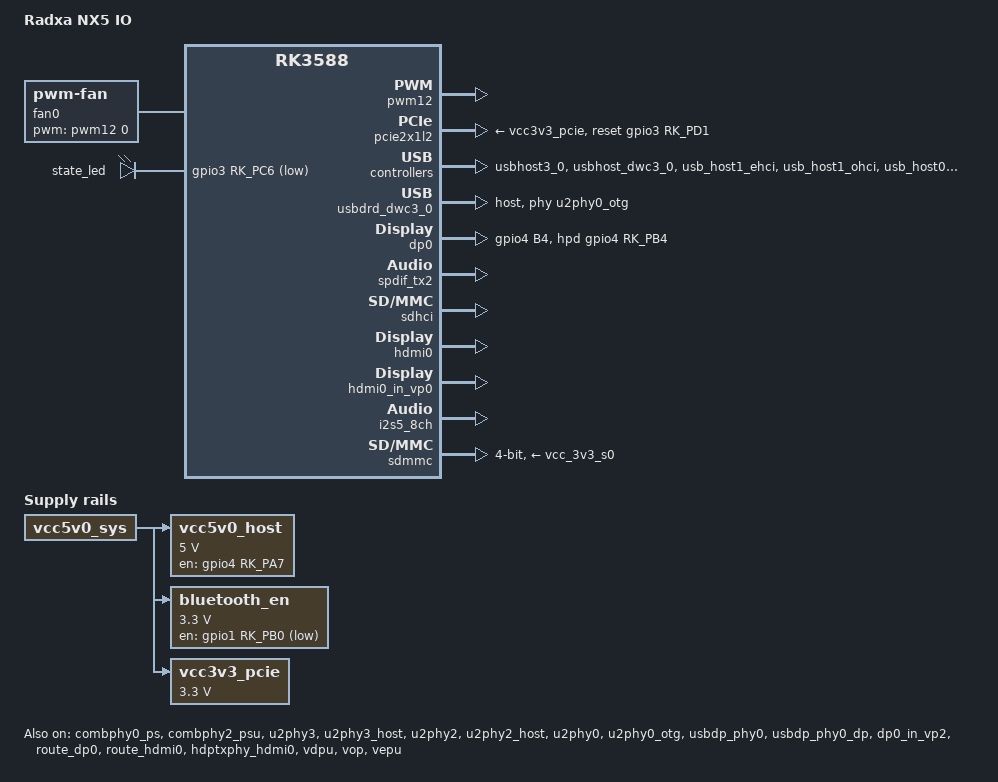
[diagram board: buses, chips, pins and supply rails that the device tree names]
// SPDX-License-Identifier: (GPL-2.0+ OR MIT)
/*
 * Copyright (c) 2022 Rockchip Electronics Co., Ltd.
 * Copyright (c) 2022 Radxa Limited
 *
 */

/dts-v1/;

#include "rk3588s-radxa-nx5-module.dtsi"

/ {
	model = "Radxa NX5 IO";
	compatible = "radxa,nx5-io", "rockchip,rk3588";

	vcc5v0_host: vcc5v0-host-regulator {
		compatible = "regulator-fixed";
		regulator-name = "vcc5v0_host";
		regulator-boot-on;
		regulator-always-on;
		regulator-min-microvolt = <5000000>;
		regulator-max-microvolt = <5000000>;
		enable-active-high;
		gpio = <&gpio4 RK_PA7 GPIO_ACTIVE_HIGH>;
		pinctrl-names = "default";
		pinctrl-0 = <&vcc5v0_host_en>;
		vin-supply = <&vcc5v0_sys>;
	};

	hdmi0_sound: hdmi0-sound {
		status = "okay";
		compatible = "rockchip,hdmi";
		rockchip,mclk-fs = <128>;
		rockchip,card-name = "rockchip-hdmi0";
		rockchip,cpu = <&i2s5_8ch>;
		rockchip,codec = <&hdmi0>;
		rockchip,jack-det;
	};

	dp0_sound: dp0-sound {
		status = "okay";
		compatible = "rockchip,hdmi";
		rockchip,mclk-fs = <512>;
		rockchip,card-name= "rockchip-hdmi1";
		rockchip,cpu = <&spdif_tx2>;
		rockchip,codec = <&dp0 1>;
		rockchip,jack-det;
	};

	fan0: pwm-fan {
		compatible = "pwm-fan";
		#cooling-cells = <2>;
		cooling-levels = <0 64 128 192 255>;
		pwms = <&pwm12 0 10000 0>;
	};

	bluetooth_en: bluetooth-en {
		compatible = "regulator-fixed";
		regulator-name = "bluetooth_en";
		regulator-min-microvolt = <3300000>;
		regulator-max-microvolt = <3300000>;
		regulator-boot-on;
		regulator-always-on;
		enable-active-low;
		gpio = <&gpio1 RK_PB0 GPIO_ACTIVE_LOW>;
		pinctrl-names = "default";
		pinctrl-0 = <&ble_en>;
		vin-supply = <&vcc5v0_sys>;
	};

	vcc3v3_pcie: vcc3v3-pcie {
		compatible = "regulator-fixed";
		regulator-name = "vcc3v3_pcie";
		regulator-min-microvolt = <3300000>;
		regulator-max-microvolt = <3300000>;
		startup-delay-us = <5000>;
		vin-supply = <&vcc5v0_sys>;
	};

	leds {
		compatible = "gpio-leds";
		pinctrl-0 = <&led0_en &led1_en>;
		pinctrl-names = "default";
		state_led {
			gpios = <&gpio3 RK_PC6 GPIO_ACTIVE_LOW>;
			linux,default-trigger = "heartbeat";
			default-state = "on";
		};
	};
};

&pwm12 {
	pinctrl-0 = <&pwm12m1_pins>;
	status = "okay";
};

&soc_thermal {
	sustainable-power = <5000>; /* milliwatts */
	cooling-maps {
		map4 {
			trip = <&target>;
			cooling-device =
				<&fan0 THERMAL_NO_LIMIT THERMAL_NO_LIMIT>;
			contribution = <8192>;
		};
		map5 {
			trip = <&threshold>;
			cooling-device =
				<&fan0 THERMAL_NO_LIMIT THERMAL_NO_LIMIT>;
			contribution = <8192>;
		};
	};
};

&threshold {
	temperature = <60000>;
};

&combphy0_ps {
	status = "okay";
};

&pcie2x1l2 {
	vpcie3v3-supply = <&vcc3v3_pcie>;
	reset-gpios = <&gpio3 RK_PD1 GPIO_ACTIVE_HIGH>;
	status = "okay";
};

&combphy2_psu {
	status = "okay";
};

&usbhost3_0 {
	status = "okay";
};

&usbhost_dwc3_0 {
	status = "okay";
};

&usb_host1_ehci {
	status = "okay";
};

&usb_host1_ohci {
	status = "okay";
};

&u2phy3 {
	status = "okay";
};

&u2phy3_host {
	status = "okay";
};

&usb_host0_ehci {
	status = "okay";
};

&usb_host0_ohci {
	status = "okay";
};

&u2phy2 {
	status = "okay";
};

&u2phy2_host {
	status = "okay";
};

&u2phy0 {
	status = "okay";
};

&u2phy0_otg {
	status = "okay";
};

&usbdrd3_0 {
	status = "okay";
};

&usbdrd_dwc3_0 {
	status = "okay";
	phys = <&u2phy0_otg>;
	phy-names = "usb2-phy";
	maximum-speed = "high-speed";
	extcon = <&u2phy0>;
	dr_mode = "host";
	/* Fix usb suspend failure */
	snps,dis_u3_susphy_quirk;
};

&usbdp_phy0 {
	status = "okay";
	rockchip,dp-lane-mux = < 0 1 2 3>;
};

&usbdp_phy0_dp {
	status = "okay";
};

&dp0 {
	status = "okay";
	pinctrl-names = "default";
	pinctrl-0 = <&dp0_hpd>;
	hpd-gpios = <&gpio4 RK_PB4 GPIO_ACTIVE_HIGH>;
};

&dp0_in_vp2 {
	status = "okay";
};

&route_dp0 {
	status = "okay";
	connect = <&vp2_out_dp0>;
};

&spdif_tx2 {
	status = "okay";
};

&sdhci {
	status = "okay";
};

&hdmi0 {
	status = "okay";
	cec-enable = "true";
};

&hdmi0_in_vp0 {
	status = "okay";
};

&route_hdmi0 {
	status = "okay";
};

&hdptxphy_hdmi0 {
	status = "okay";
};

&i2s5_8ch {
	status = "okay";
};

&vdpu {
	status = "okay";
};

&vdpu_mmu {
	status = "okay";
};

&vop {
	status = "okay";
};

&vop_mmu {
	status = "okay";
};

&vepu {
	status = "okay";
};

&vp0 {
	rockchip,plane-mask = <(1 << ROCKCHIP_VOP2_CLUSTER0 | 1 << ROCKCHIP_VOP2_ESMART0)>;
	rockchip,primary-plane = <ROCKCHIP_VOP2_CLUSTER0>;
	cursor-win-id = <ROCKCHIP_VOP2_ESMART0>;
};

&vp1 {
	rockchip,plane-mask = <(1 << ROCKCHIP_VOP2_CLUSTER1 | 1 << ROCKCHIP_VOP2_ESMART1)>;
	rockchip,primary-plane = <ROCKCHIP_VOP2_CLUSTER1>;
	cursor-win-id = <ROCKCHIP_VOP2_ESMART1>;
};

&vp2 {
	rockchip,plane-mask = <(1 << ROCKCHIP_VOP2_CLUSTER2 | 1 << ROCKCHIP_VOP2_ESMART2)>;
	rockchip,primary-plane = <ROCKCHIP_VOP2_CLUSTER2>;
	cursor-win-id = <ROCKCHIP_VOP2_ESMART2>;
};

&vp3 {
	rockchip,plane-mask = <(1 << ROCKCHIP_VOP2_CLUSTER3 | 1 << ROCKCHIP_VOP2_ESMART3)>;
	rockchip,primary-plane = <ROCKCHIP_VOP2_CLUSTER3>;
	cursor-win-id = <ROCKCHIP_VOP2_ESMART3>;
};

&display_subsystem {
	clocks = <&hdptxphy_hdmi_clk0>;
	clock-names = "hdmi0_phy_pll";
};

&hdptxphy_hdmi_clk0 {
	status = "okay";
};

&sdmmc {
	no-sdio;
	no-mmc;
	bus-width = <4>;
	cap-mmc-highspeed;
	cap-sd-highspeed;
	disable-wp;
	sd-uhs-sdr104;
	vmmc-supply = <&vcc_3v3_s0>;
	vqmmc-supply = <&vccio_sd_s0>;
	pinctrl-names = "default";
	pinctrl-0 = <&sdmmc_bus4 &sdmmc_clk &sdmmc_cmd &sdmmc_det>;
	status = "okay";
};

/* Fix the issue of board howling */
&vdd_cpu_big0_s0 {
	regulator-initial-mode = <1>;
};

&vdd_cpu_big1_s0 {
	regulator-initial-mode = <1>;
};

&vdd_npu_s0 {
	regulator-initial-mode = <1>;
};

&vdd_gpu_s0 {
	regulator-initial-mode = <1>;
};

&vdd_cpu_lit_s0 {
	regulator-initial-mode = <1>;
};

&vdd_log_s0 {
	regulator-initial-mode = <1>;
};

&vdd_vdenc_s0 {
	regulator-initial-mode = <1>;
};

&vdd_ddr_s0 {
	regulator-initial-mode = <1>;
};

&vdd2_ddr_s3 {
	regulator-initial-mode = <1>;
};

&vcc_2v0_pldo_s3 {
	regulator-initial-mode = <1>;
};

&vcc_3v3_s3 {
	regulator-initial-mode = <1>;
};

&vddq_ddr_s0 {
	regulator-initial-mode = <1>;
};

&vcc_1v8_s3 {
	regulator-initial-mode = <1>;
};

&pinctrl {
	dp {
		dp0_hpd: dp0-hpd {
			rockchip,pins = <4 RK_PB4 RK_FUNC_GPIO &pcfg_pull_none>;
		};
	};

	usb {
		vcc5v0_host_en: vcc5v0-host-en {
			rockchip,pins = <4 RK_PA7 RK_FUNC_GPIO &pcfg_pull_none>;
		};
	};

	bluetooth {
		ble_en: ble-en {
			rockchip,pins = <1 RK_PB0 RK_FUNC_GPIO &pcfg_pull_none>;
		};
	};

	led {
		led1_en: led1-en {
			rockchip,pins = <3 RK_PC6 RK_FUNC_GPIO &pcfg_pull_none>;
		};
	};
};

&gpio0 {
	gpio-line-names =
		/* GPIO0_A0-A3 */
		"PIN_31", "", "", "",
		/* GPIO0_A4-A7 */
		"", "", "", "",

		/* GPIO0_B0-B3 */
		"PIN_15", "", "", "",
		/* GPIO0_B4-B7 */
		"", "PIN_8", "PIN_10", "",

		/* GPIO0_C0-C3 */
		"", "", "", "",
		/* GPIO0_C4-C7 */
		"", "", "", "",

		/* GPIO0_D0-D3 */
		"", "", "", "",
		/* GPIO0_D4-D7 */
		"PIN_3", "PIN_5", "", "";
};

&gpio1 {
	gpio-line-names =
		/* GPIO1_A0-A3 */
		"", "PIN_33", "", "",
		/* GPIO1_A4-A7 */
		"", "", "", "",

		/* GPIO1_B0-B3 */
		"", "PIN_21", "PIN_19", "PIN_23",
		/* GPIO1_B4-B7 */
		"PIN_24", "PIN_26", "", "",

		/* GPIO1_C0-C3 */
		"PIN_7", "", "", "PIN_12",
		/* GPIO1_C4-C7 */
		"", "PIN_35", "", "PIN_40",

		/* GPIO1_D0-D3 */
		"PIN_22", "PIN_37", "PIN_13", "PIN_18",
		/* GPIO1_D4-D7 */
		"PIN_38", "PIN_16", "", "";
};

&gpio2 {
	gpio-line-names =
		/* GPIO2_A0-A3 */
		"", "", "", "",
		/* GPIO2_A4-A7 */
		"", "", "", "",

		/* GPIO2_B0-B3 */
		"", "", "", "",
		/* GPIO2_B4-B7 */
		"", "", "", "",

		/* GPIO2_C0-C3 */
		"", "", "", "",
		/* GPIO2_C4-C7 */
		"", "", "", "",

		/* GPIO2_D0-D3 */
		"", "", "", "",
		/* GPIO2_D4-D7 */
		"", "", "", "";
};

&gpio3 {
	gpio-line-names =
		/* GPIO3_A0-A3 */
		"", "", "", "",
		/* GPIO3_A4-A7 */
		"", "", "", "",

		/* GPIO3_B0-B3 */
		"", "", "", "",
		/* GPIO3_B4-B7 */
		"", "", "", "",

		/* GPIO3_C0-C3 */
		"", "", "", "",
		/* GPIO3_C4-C7 */
		"", "", "", "",

		/* GPIO3_D0-D3 */
		"", "", "PIN_11", "PIN_36",
		/* GPIO3_D4-D7 */
		"", "", "", "";
};

&gpio4 {
	gpio-line-names =
		/* GPIO4_A0-A3 */
		"", "", "", "",
		/* GPIO4_A4-A7 */
		"", "", "", "",

		/* GPIO4_B0-B3 */
		"", "", "", "PIN_32",
		/* GPIO4_B4-B7 */
		"", "", "PIN_29", "",

		/* GPIO4_C0-C3 */
		"", "", "", "",
		/* GPIO4_C4-C7 */
		"", "", "", "",

		/* GPIO4_D0-D3 */
		"", "", "", "",
		/* GPIO4_D4-D7 */
		"", "", "", "";
};
